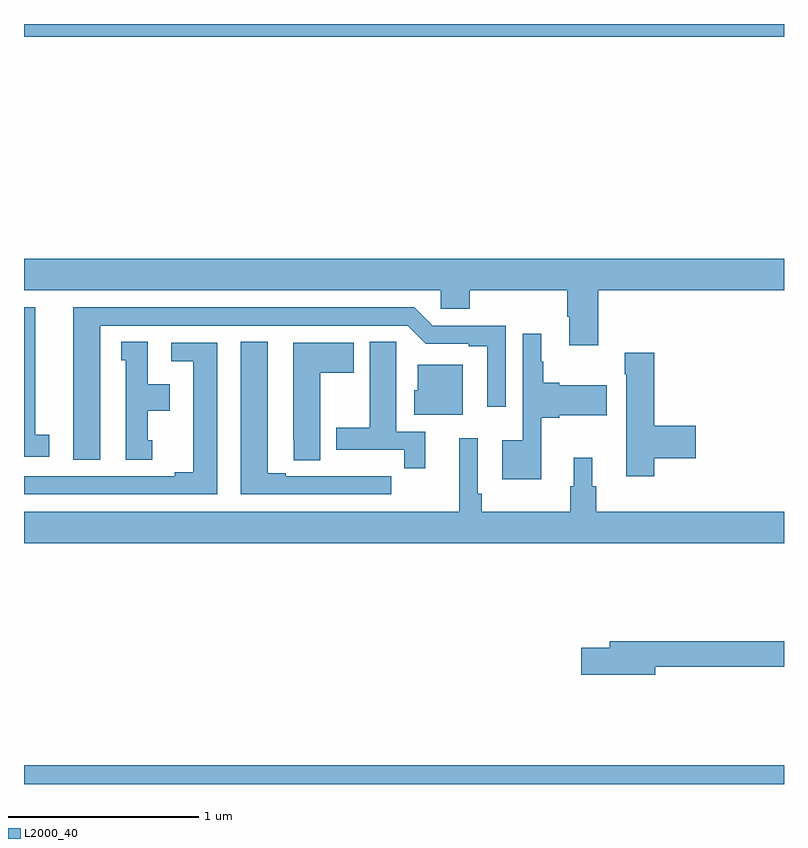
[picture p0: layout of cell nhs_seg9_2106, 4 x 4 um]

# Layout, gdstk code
import gdstk
lib = gdstk.Library(unit=1e-6, precision=1e-09)
def R(c, l, rs):  # rectangles x0, y0, x1, y1
    for r in rs: c.add(gdstk.rectangle(r[:2], r[2:], *l))
def P(c, l, *ps):  # polygons
    for p in ps: c.add(gdstk.Polygon(p, *l))
L2000_40 = (2000, 40)

nhs_seg9_2106 = lib.new_cell('nhs_seg9_2106')
R(nhs_seg9_2106, L2000_40, [(231,1180.5,235,1180.6), (231,1184.432,235,1184.5)])
P(nhs_seg9_2106, L2000_40, [(234.023,1183.1),(235,1183.1),(235,1183.264),(231,1183.264),(231,1183.1),(233.193,1183.1),(233.193,1183.002),(233.345,1183.002),(233.345,1183.1),(233.858,1183.1),(233.858,1182.958),(233.87,1182.958),(233.87,1182.81),(234.023,1182.81)],
  [(231.133,1182.338),(231.058,1182.338),(231.058,1183.008),(231,1183.008),(231,1182.222),(231.133,1182.222)],
  [(231.4,1182.912),(233.019,1182.912),(233.115,1182.816),(233.342,1182.816),(233.342,1182.804),(233.438,1182.804),(233.438,1182.486),(233.535,1182.486),(233.535,1182.912),(233.151,1182.912),(233.055,1183.008),(231.26,1183.008),(231.26,1182.207),(231.4,1182.207)],
  [(233.722,1182.428),(233.818,1182.428),(233.818,1182.44),(234.067,1182.44),(234.067,1182.598),(233.818,1182.598),(233.818,1182.611),(233.734,1182.611),(233.734,1182.722),(233.722,1182.722),(233.722,1182.871),(233.625,1182.871),(233.625,1182.31),(233.516,1182.31),(233.516,1182.104),(233.722,1182.104)],
  [(233.111,1182.354),(232.96,1182.354),(232.96,1182.716),(232.959,1182.716),(232.959,1182.827),(232.82,1182.827),(232.82,1182.375),(232.643,1182.375),(232.643,1182.258),(233.002,1182.258),(233.002,1182.162),(233.111,1182.162)],
  [(231.676,1182.309),(231.652,1182.309),(231.652,1182.464),(231.766,1182.464),(231.766,1182.604),(231.652,1182.604),(231.652,1182.827),(231.512,1182.827),(231.512,1182.729),(231.536,1182.729),(231.536,1182.207),(231.676,1182.207)],
  [(232.933,1182.12),(232.82,1182.12),(232.82,1182.121),(232.654,1182.121),(232.654,1182.12),(232.378,1182.12),(232.378,1182.135),(232.282,1182.135),(232.282,1182.827),(232.142,1182.827),(232.142,1182.024),(232.933,1182.024)],
  [(232.558,1182.664),(232.735,1182.664),(232.735,1182.823),(232.418,1182.823),(232.418,1182.313),(232.419,1182.313),(232.419,1182.205),(232.558,1182.205)],
  [(232.018,1182.822),(231.774,1182.822),(231.774,1182.726),(231.89,1182.726),(231.89,1182.14),(231.794,1182.14),(231.794,1182.12),(231,1182.12),(231,1182.024),(232.018,1182.024)],
  [(234.317,1182.215),(234.535,1182.215),(234.535,1182.386),(234.317,1182.386),(234.317,1182.769),(234.163,1182.769),(234.163,1182.656),(234.17,1182.656),(234.17,1182.12),(234.317,1182.12)],
  [(233.308,1182.706),(233.072,1182.706),(233.072,1182.573),(233.054,1182.573),(233.054,1182.443),(233.308,1182.443)],
  [(235,1181.932),(234.011,1181.932),(234.011,1182.066),(233.992,1182.066),(233.992,1182.217),(233.894,1182.217),(233.894,1182.066),(233.875,1182.066),(233.875,1181.932),(233.408,1181.932),(233.408,1182.028),(233.388,1182.028),(233.388,1182.319),(233.291,1182.319),(233.291,1181.932),(231,1181.932),(231,1181.768),(235,1181.768)],
  [(234.322,1181.116),(235,1181.116),(235,1181.252),(234.083,1181.252),(234.083,1181.216),(233.934,1181.216),(233.934,1181.074),(234.322,1181.074)])

lib.write_gds('nhs_seg9_2106.gds')
